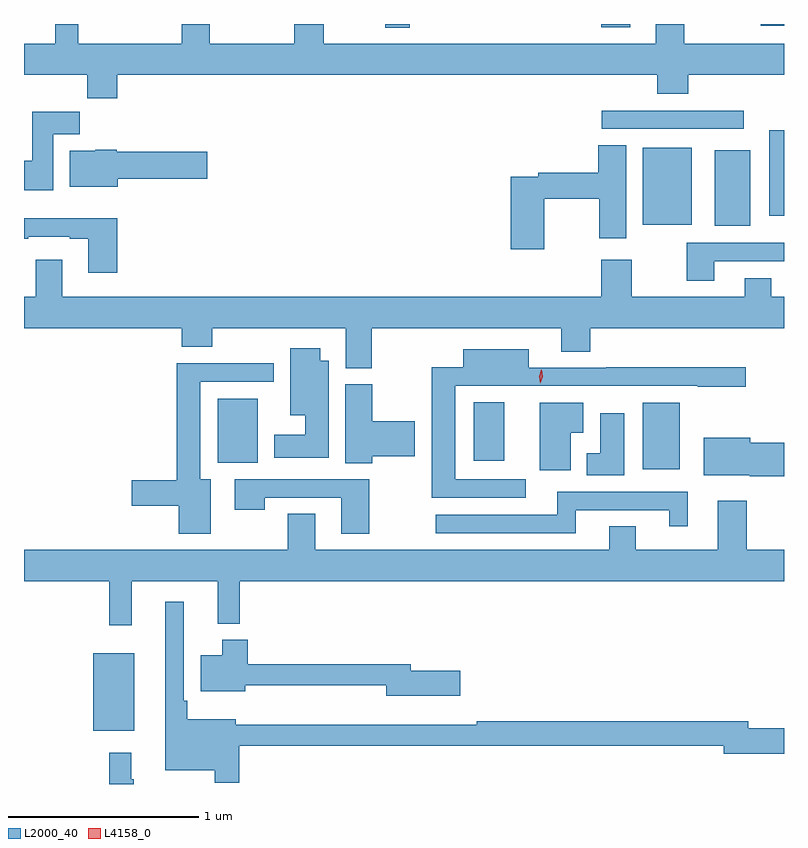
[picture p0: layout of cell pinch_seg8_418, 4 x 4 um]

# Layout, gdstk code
import gdstk
lib = gdstk.Library(unit=1e-6, precision=1e-09)
def R(c, l, rs):  # rectangles x0, y0, x1, y1
    for r in rs: c.add(gdstk.rectangle(r[:2], r[2:], *l))
def P(c, l, *ps):  # polygons
    for p in ps: c.add(gdstk.Polygon(p, *l))
L2000_40 = (2000, 40)
L4158_0 = (4158, 0)

pinch_seg8_418 = lib.new_cell('pinch_seg8_418')
R(pinch_seg8_418, L2000_40, [(279.464,1143.683,279.679,1144.093), (282.356,1145.06,282.55,1145.41), (280.118,1145.096,280.33,1145.431), (281.465,1145.106,281.626,1145.414), (282.734,1146.341,282.922,1146.739), (282.356,1146.347,282.613,1146.754), (283.022,1146.396,283.099,1146.844), (282.141,1146.852,282.886,1146.948), (281.001,1147.385,281.129,1147.404), (282.137,1147.386,282.289,1147.404), (282.977,1147.394,283.099,1147.404)])
P(pinch_seg8_418, L2000_40, [(279.59,1147.136),(282.431,1147.136),(282.431,1147.037),(282.596,1147.037),(282.596,1147.136),(283.099,1147.136),(283.099,1147.3),(282.573,1147.3),(282.573,1147.404),(282.425,1147.404),(282.425,1147.3),(280.677,1147.3),(280.677,1147.404),(280.522,1147.404),(280.522,1147.3),(280.077,1147.3),(280.077,1147.404),(279.929,1147.404),(279.929,1147.3),(279.385,1147.3),(279.385,1147.404),(279.264,1147.404),(279.264,1147.3),(279.099,1147.3),(279.099,1147.136),(279.433,1147.136),(279.433,1147.012),(279.59,1147.012)],
  [(279.253,1146.824),(279.392,1146.824),(279.392,1146.942),(279.143,1146.942),(279.143,1146.684),(279.099,1146.684),(279.099,1146.528),(279.253,1146.528)],
  [(281.838,1146.484),(282.127,1146.484),(282.127,1146.276),(282.268,1146.276),(282.268,1146.767),(282.122,1146.767),(282.122,1146.62),(281.806,1146.62),(281.806,1146.6),(281.66,1146.6),(281.66,1146.219),(281.838,1146.219)],
  [(279.592,1146.59),(280.063,1146.59),(280.063,1146.732),(279.588,1146.732),(279.588,1146.742),(279.474,1146.742),(279.474,1146.736),(279.341,1146.736),(279.341,1146.548),(279.592,1146.548)],
  [(279.59,1146.382),(279.099,1146.382),(279.099,1146.273),(279.121,1146.273),(279.121,1146.285),(279.341,1146.285),(279.341,1146.273),(279.437,1146.273),(279.437,1146.096),(279.59,1146.096)],
  [(282.733,1146.156),(283.099,1146.156),(283.099,1146.252),(282.586,1146.252),(282.586,1146.054),(282.733,1146.054)],
  [(280.929,1145.804),(281.927,1145.804),(281.927,1145.68),(282.08,1145.68),(282.08,1145.804),(283.099,1145.804),(283.099,1145.968),(283.033,1145.968),(283.033,1146.067),(282.893,1146.067),(282.893,1145.968),(282.297,1145.968),(282.297,1146.163),(282.137,1146.163),(282.137,1145.968),(279.301,1145.968),(279.301,1146.163),(279.161,1146.163),(279.161,1145.968),(279.099,1145.968),(279.099,1145.804),(279.929,1145.804),(279.929,1145.705),(280.089,1145.705),(280.089,1145.804),(280.793,1145.804),(280.793,1145.593),(280.929,1145.593)],
  [(280.702,1145.632),(280.657,1145.632),(280.657,1145.698),(280.499,1145.698),(280.499,1145.345),(280.58,1145.345),(280.58,1145.242),(280.415,1145.242),(280.415,1145.12),(280.702,1145.12)],
  [(281.74,1145.007),(281.368,1145.007),(281.368,1145.499),(282.646,1145.499),(282.646,1145.494),(282.898,1145.494),(282.898,1145.597),(282.163,1145.597),(282.163,1145.595),(281.755,1145.595),(281.755,1145.692),(281.411,1145.692),(281.411,1145.597),(281.246,1145.597),(281.246,1144.911),(281.74,1144.911)],
  [(280.081,1145.008),(280.027,1145.008),(280.027,1145.52),(280.414,1145.52),(280.414,1145.618),(279.902,1145.618),(279.902,1145.003),(279.666,1145.003),(279.666,1144.868),(279.914,1144.868),(279.914,1144.722),(280.081,1144.722)],
  [(280.932,1145.129),(281.155,1145.129),(281.155,1145.312),(280.932,1145.312),(280.932,1145.508),(280.79,1145.508),(280.79,1145.092),(280.932,1145.092)],
  [(281.977,1145.252),(282.043,1145.252),(282.043,1145.41),(281.813,1145.41),(281.813,1145.055),(281.977,1145.055)],
  [(282.259,1145.356),(282.131,1145.356),(282.131,1145.146),(282.062,1145.146),(282.062,1145.03),(282.259,1145.03)],
  [(283.099,1145.201),(282.922,1145.201),(282.922,1145.227),(282.677,1145.227),(282.677,1145.03),(282.918,1145.03),(282.918,1145.023),(283.099,1145.023)],
  [(280.917,1145.007),(280.209,1145.007),(280.209,1144.848),(280.365,1144.848),(280.365,1144.911),(280.769,1144.911),(280.769,1144.722),(280.917,1144.722)],
  [(282.004,1144.845),(282.494,1144.845),(282.494,1144.761),(282.592,1144.761),(282.592,1144.941),(281.906,1144.941),(281.906,1144.821),(281.265,1144.821),(281.265,1144.725),(282.004,1144.725)],
  [(279.665,1144.472),(280.118,1144.472),(280.118,1144.247),(280.235,1144.247),(280.235,1144.472),(283.099,1144.472),(283.099,1144.636),(282.902,1144.636),(282.902,1144.894),(282.749,1144.894),(282.749,1144.636),(282.319,1144.636),(282.319,1144.76),(282.179,1144.76),(282.179,1144.636),(280.633,1144.636),(280.633,1144.826),(280.486,1144.826),(280.486,1144.636),(279.099,1144.636),(279.099,1144.472),(279.547,1144.472),(279.547,1144.239),(279.665,1144.239)],
  [(280.232,1143.606),(282.782,1143.606),(282.782,1143.563),(283.099,1143.563),(283.099,1143.698),(282.91,1143.698),(282.91,1143.734),(281.482,1143.734),(281.482,1143.715),(280.91,1143.715),(280.91,1143.716),(280.213,1143.716),(280.213,1143.745),(279.959,1143.745),(279.959,1143.841),(279.939,1143.841),(279.939,1144.363),(279.842,1144.363),(279.842,1143.476),(280.104,1143.476),(280.104,1143.411),(280.232,1143.411)],
  [(281.395,1143.999),(281.134,1143.999),(281.134,1144.033),(280.277,1144.033),(280.277,1144.162),(280.142,1144.162),(280.142,1144.081),(280.028,1144.081),(280.028,1143.893),(280.264,1143.893),(280.264,1143.923),(281.006,1143.923),(281.006,1143.869),(281.395,1143.869)],
  [(279.676,1143.428),(279.664,1143.428),(279.664,1143.568),(279.547,1143.568),(279.547,1143.404),(279.676,1143.404)])
P(pinch_seg8_418, L4158_0, [(281.817,1145.512),(281.817,1145.512),(281.81,1145.549),(281.822,1145.584),(281.822,1145.584),(281.823,1145.584),(281.83,1145.547),(281.817,1145.512)])

lib.write_gds('pinch_seg8_418.gds')
